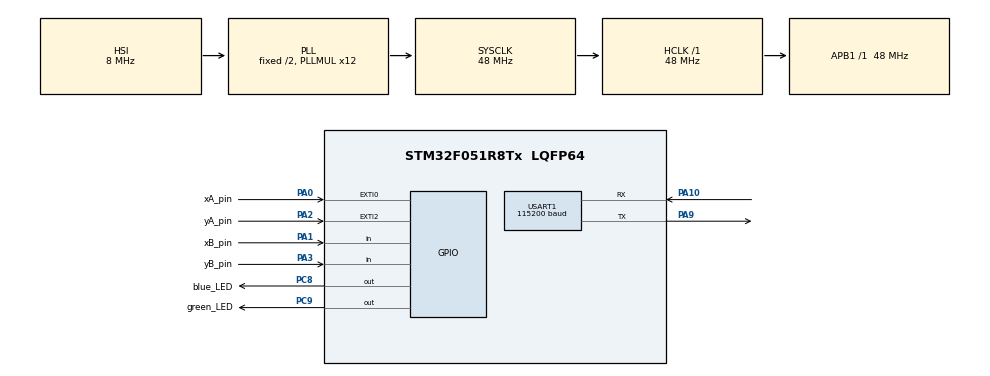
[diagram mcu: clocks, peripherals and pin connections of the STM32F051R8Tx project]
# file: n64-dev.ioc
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Mcu.Family=STM32F0
Mcu.Name=STM32F051R8Tx
Mcu.Package=LQFP64
NVIC.EXTI0_1_IRQn=true\:0\:0\:false\:false\:true\:true\:true\:true
NVIC.EXTI2_3_IRQn=true\:0\:0\:false\:false\:true\:true\:true\:true
PA0.GPIO_Label=xA_pin
PA0.GPIO_ModeDefaultEXTI=GPIO_MODE_IT_RISING_FALLING
PA0.Signal=GPXTI0
PA1.GPIO_Label=xB_pin
PA1.Signal=GPIO_Input
PA10.Mode=Asynchronous
PA10.Signal=USART1_RX
PA13.GPIO_Label=SWDIO
PA13.Mode=Serial_Wire
PA13.Signal=SYS_SWDIO
PA14.GPIO_Label=SWCLK
PA14.Mode=Serial_Wire
PA14.Signal=SYS_SWCLK
PA2.GPIO_Label=yA_pin
PA2.GPIO_ModeDefaultEXTI=GPIO_MODE_IT_RISING_FALLING
PA2.Signal=GPXTI2
PA3.GPIO_Label=yB_pin
PA3.Signal=GPIO_Input
PA9.Mode=Asynchronous
PA9.Signal=USART1_TX
PC8.GPIO_Label=blue_LED
PC8.Signal=GPIO_Output
PC9.GPIO_Label=green_LED
PC9.Signal=GPIO_Output
ProjectManager.HeapSize=0x200
ProjectManager.StackSize=0x400
ProjectManager.TargetToolchain=STM32CubeIDE
RCC.AHBFreq_Value=48000000
RCC.APB1Freq_Value=48000000
RCC.APB1TimFreq_Value=48000000
RCC.HCLKFreq_Value=48000000
RCC.PLLMUL=RCC_PLL_MUL12
RCC.SYSCLKFreq_VALUE=48000000
RCC.SYSCLKSource=RCC_SYSCLKSOURCE_PLLCLK
USART1.BaudRate=115200
USART1.Mode=MODE_TX
USART1.OverSampling=UART_OVERSAMPLING_8
USART1.VirtualMode-Asynchronous=VM_ASYNC
board=STM32F0DISCOVERY

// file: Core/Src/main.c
/* USER CODE BEGIN Header */
/**
 ******************************************************************************
 * @file           : main.c
 * @brief          : Main program body
 ******************************************************************************
 * @attention
 *
 * Copyright (c) 2024 STMicroelectronics.
 * All rights reserved.
 *
 * This software is licensed under terms that can be found in the LICENSE file
 * in the root directory of this software component.
 * If no LICENSE file comes with this software, it is provided AS-IS.
 *
 ******************************************************************************
 */
/* USER CODE END Header */
#include "main.h"
#include "usart.h"
#include "gpio.h"

/* USER CODE BEGIN Includes */
#include "usart_test.h"
#include "n64_functions.h"
/* USER CODE END Includes */

void SystemClock_Config(void);

int main(void)
{

  /* MCU Configuration--------------------------------------------------------*/

  /* Reset of all peripherals, Initializes the Flash interface and the Systick. */
  HAL_Init();

  /* Configure the system clock */
  SystemClock_Config();

  /* Initialize all configured peripherals */
  MX_GPIO_Init();
  MX_USART1_UART_Init();
  /* USER CODE BEGIN 2 */
  GPIO_PinState prev_xA = HAL_GPIO_ReadPin(xA_pin_GPIO_Port, xA_pin_Pin);
  GPIO_PinState prev_yA = HAL_GPIO_ReadPin(xA_pin_GPIO_Port, xA_pin_Pin);
  GPIO_PinState curr_xA = HAL_GPIO_ReadPin(xA_pin_GPIO_Port, xA_pin_Pin);
  GPIO_PinState curr_yA = HAL_GPIO_ReadPin(xA_pin_GPIO_Port, xA_pin_Pin);
  uint8_t send_data[] = {1, 1, 2, 2, 3, 3, 4, 4};
  /* USER CODE END 2 */

  /* Infinite loop */
  /* USER CODE BEGIN WHILE */
  /* If not testing, comment out following code*/
  n64_loop();
  uart_testing();

  /* This concludes testing code*/

  while (1)
  {
    curr_xA = HAL_GPIO_ReadPin(xA_pin_GPIO_Port, xA_pin_Pin);
    if (curr_xA != prev_xA)
    {
      if (HAL_GPIO_ReadPin(xB_pin_GPIO_Port, xB_pin_Pin) == curr_xA)
      {
        HAL_GPIO_WritePin(blue_LED_GPIO_Port, blue_LED_Pin, GPIO_PIN_SET);
      }
      else
      {
        HAL_GPIO_WritePin(blue_LED_GPIO_Port, blue_LED_Pin, GPIO_PIN_RESET);
      }
    }
    curr_yA = HAL_GPIO_ReadPin(yA_pin_GPIO_Port, yA_pin_Pin);
    if (curr_yA != prev_yA)
    {
      if (HAL_GPIO_ReadPin(yB_pin_GPIO_Port, yB_pin_Pin) == curr_yA)
      {
        HAL_GPIO_WritePin(green_LED_GPIO_Port, green_LED_Pin, GPIO_PIN_SET);
      }
      else
      {
        HAL_GPIO_WritePin(green_LED_GPIO_Port, green_LED_Pin, GPIO_PIN_RESET);
      }
    }
    send_data[1] = curr_xA;
    send_data[3] = prev_xA;
    send_data[5] = curr_yA;
    send_data[7] = prev_yA;
    prev_xA = curr_xA;
    prev_yA = curr_yA;

    HAL_UART_Transmit(&huart1, send_data, 8, 10000);

    /* USER CODE END WHILE */

  }
}

void SystemClock_Config(void)
{
  RCC_OscInitTypeDef RCC_OscInitStruct = {0};
  RCC_ClkInitTypeDef RCC_ClkInitStruct = {0};
  RCC_PeriphCLKInitTypeDef PeriphClkInit = {0};

  /** Initializes the RCC Oscillators according to the specified parameters
   * in the RCC_OscInitTypeDef structure.
   */
  RCC_OscInitStruct.OscillatorType = RCC_OSCILLATORTYPE_HSI;
  RCC_OscInitStruct.HSIState = RCC_HSI_ON;
  RCC_OscInitStruct.HSICalibrationValue = RCC_HSICALIBRATION_DEFAULT;
  RCC_OscInitStruct.PLL.PLLState = RCC_PLL_ON;
  RCC_OscInitStruct.PLL.PLLSource = RCC_PLLSOURCE_HSI;
  RCC_OscInitStruct.PLL.PLLMUL = RCC_PLL_MUL12;
  RCC_OscInitStruct.PLL.PREDIV = RCC_PREDIV_DIV1;
  if (HAL_RCC_OscConfig(&RCC_OscInitStruct) != HAL_OK)
  {
    Error_Handler();
  }

  /** Initializes the CPU, AHB and APB buses clocks
   */
  RCC_ClkInitStruct.ClockType = RCC_CLOCKTYPE_HCLK | RCC_CLOCKTYPE_SYSCLK | RCC_CLOCKTYPE_PCLK1;
  RCC_ClkInitStruct.SYSCLKSource = RCC_SYSCLKSOURCE_PLLCLK;
  RCC_ClkInitStruct.AHBCLKDivider = RCC_SYSCLK_DIV1;
  RCC_ClkInitStruct.APB1CLKDivider = RCC_HCLK_DIV1;

  if (HAL_RCC_ClockConfig(&RCC_ClkInitStruct, FLASH_LATENCY_1) != HAL_OK)
  {
    Error_Handler();
  }
  PeriphClkInit.PeriphClockSelection = RCC_PERIPHCLK_USART1;
  PeriphClkInit.Usart1ClockSelection = RCC_USART1CLKSOURCE_PCLK1;
  if (HAL_RCCEx_PeriphCLKConfig(&PeriphClkInit) != HAL_OK)
  {
    Error_Handler();
  }
}

void Error_Handler(void)
{
  __disable_irq();
  while (1)
  {
  }
}
